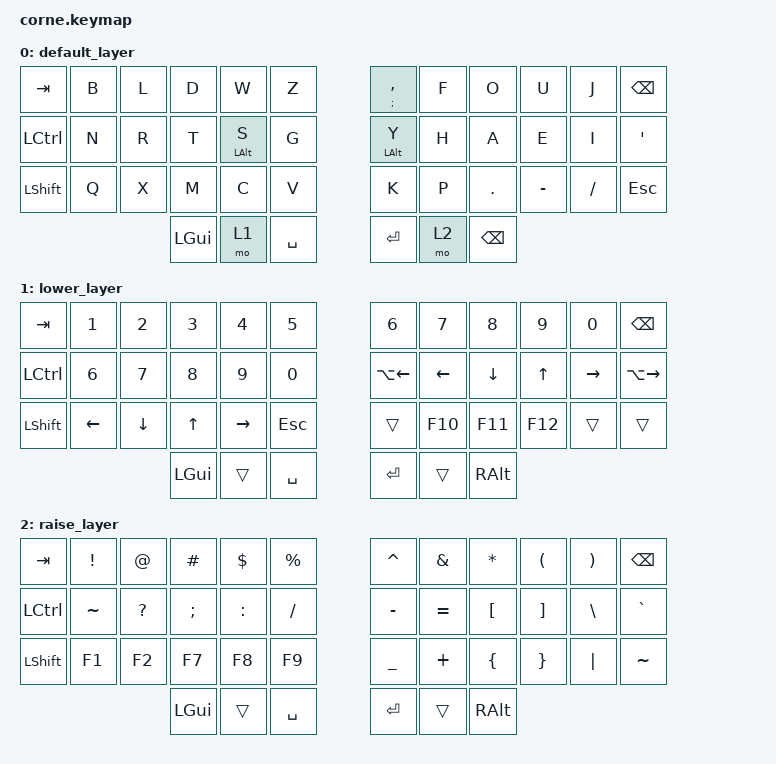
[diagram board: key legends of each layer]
/*
 * Copyright (c) 2020 The ZMK Contributors
 *
 * SPDX-License-Identifier: MIT
 */

#include <behaviors.dtsi>
#include <dt-bindings/zmk/keys.h>

&mt {
    tapping-term-ms = <175>;
    flavor = "tap-preferred";
};

/ {
    combos {
        compatible = "zmk,combos";

        ae {
            bindings = <&kp LA(APOS)>;
            key-positions = <18 21>;
        };

        leftae {
            bindings = <&kp LA(APOSTROPHE)>;
            key-positions = <16 21>;
        };

        ue_combo {
            bindings = <&ue>;
            key-positions = <9 10>;
        };

        qu_combo {
            bindings = <&qu>;
            key-positions = <25 26>;
        };

        capital_qu_combo {
            bindings = <&capitalQu>;
            key-positions = <24 25 26>;
        };

        ao {
            bindings = <&kp LA(A)>;
            key-positions = <18 20>;
        };

        oe {
            bindings = <&kp LA(O)>;
            key-positions = <18 8>;
        };

        mbcombo {
            bindings = <&mb>;
            key-positions = <1 4>;
        };

        mblcombo {
            bindings = <&mbl>;
            key-positions = <1 2 4>;
        };

        jicombo {
            bindings = <&ji>;
            key-positions = <10 11>;
        };

        Uecombo {
            bindings = <&Ue>;
            key-positions = <24 9 10>;
        };

        screenshot {
            bindings = <&kp LS(LC(LG(NUMBER_4)))>;
            key-positions = <37 24 4>;
        };
    };

    macros {
        ue: ue {
            compatible = "zmk,behavior-macro";
            #binding-cells = <0>;
            bindings = <&macro_tap>, <&kp U &kp E>;

            label = "UE";
        };

        qu: qu {
            compatible = "zmk,behavior-macro";
            #binding-cells = <0>;
            bindings = <&macro_tap>, <&kp Q &kp U>;

            label = "QU";
        };

        capitalQu: capitalQu {
            compatible = "zmk,behavior-macro";
            #binding-cells = <0>;
            bindings = <&macro_tap>, <&kp LS(Q) &kp U>;

            label = "CAPITALQU";
        };

        mb: mb {
            compatible = "zmk,behavior-macro";
            #binding-cells = <0>;
            bindings = <&macro_tap>, <&kp M &kp B>;

            label = "MB";
        };

        mbl: mbl {
            compatible = "zmk,behavior-macro";
            #binding-cells = <0>;
            bindings = <&macro_tap>, <&kp M &kp B &kp L>;

            label = "MBL";
        };

        ji: ji {
            compatible = "zmk,behavior-macro";
            #binding-cells = <0>;
            bindings = <&macro_tap>, <&kp J &kp I>;

            label = "JI";
        };

        Ue: Ue {
            compatible = "zmk,behavior-macro";
            #binding-cells = <0>;
            bindings = <&macro_tap>, <&kp LS(U) &kp E>;

            label = "UE";
        };

        screenshot: screenshot {
            compatible = "zmk,behavior-macro";
            #binding-cells = <0>;
            bindings = <&kp LS(LC(LG(NUMBER_4)))>;
            label = "SCREENSHOT";
        };
    };

    keymap {
        compatible = "zmk,keymap";

        default_layer {
            // -----------------------------------------------------------------------------------------
            // |  TAB |  Q  |  W  |  E  |  R  |  T  |   |  Y  |  U   |  I  |  O  |  P  | BSPC |
            // | CTRL |  A  |  S  |  D  |  F  |  G  |   |  H  |  J   |  K  |  L  |  ;  |  '   |
            // | SHFT |  Z  |  X  |  C  |  V  |  B  |   |  N  |  M   |  ,  |  .  |  /  | ESC  |
            //                    | GUI | LWR | SPC |   | ENT | RSE  | ALT |

            bindings = <
&kp TAB    &kp B  &kp L  &kp D     &kp W           &kp Z        &mt SEMI COMMA  &kp F  &kp O          &kp U      &kp J     &kp BSPC
&kp LCTRL  &kp N  &kp R  &kp T     &mt LEFT_ALT S  &kp G        &mt LEFT_ALT Y  &kp H  &kp A          &kp E      &kp I     &kp SQT
&kp LSHFT  &kp Q  &kp X  &kp M     &kp C           &kp V        &kp K           &kp P  &kp PERIOD     &kp MINUS  &kp FSLH  &kp ESC
                         &kp LGUI  &mo 1           &kp SPACE    &kp RET         &mo 2  &kp BACKSPACE
            >;
        };

        lower_layer {
            // -----------------------------------------------------------------------------------------
            // |  TAB |  1  |  2  |  3  |  4  |  5  |   |  6  |  7  |  8  |  9  |  0  | BSPC |
            // | BTCLR| BT1 | BT2 | BT3 | BT4 | BT5 |   | LFT | DWN |  UP | RGT |     |      |
            // | SHFT |     |     |     |     |     |   |     |     |     |     |     |      |
            //                    | GUI |     | SPC |   | ENT |     | ALT |

            bindings = <
&kp TAB           &kp N1        &kp N2    &kp N3        &kp N4     &kp N5        &kp N6        &kp N7    &kp N8    &kp N9        &kp N0     &kp BSPC
&kp LEFT_CONTROL  &kp NUMBER_6  &kp N7    &kp N8        &kp N9     &kp N0        &kp LA(LEFT)  &kp LEFT  &kp DOWN  &kp UP_ARROW  &kp RIGHT  &kp LA(RIGHT)
&kp LSHFT         &kp LEFT      &kp DOWN  &kp UP_ARROW  &kp RIGHT  &kp ESCAPE    &trans        &kp F10   &kp F11   &kp F12       &trans     &trans
                                          &kp LGUI      &trans     &kp SPACE     &kp RET       &trans    &kp RALT
            >;
        };

        raise_layer {
            // -----------------------------------------------------------------------------------------
            // |  TAB |  !  |  @  |  #  |  $  |  %  |   |  ^  |  &  |  *  |  (  |  )  | BSPC |
            // | CTRL |     |     |     |     |     |   |  -  |  =  |  [  |  ]  |  \  |  `   |
            // | SHFT |     |     |     |     |     |   |  _  |  +  |  {  |  }  | "|" |  ~   |
            //                    | GUI |     | SPC |   | ENT |     | ALT |

            bindings = <
&kp TAB    &kp EXCL   &kp AT        &kp HASH  &kp DLLR   &kp PRCNT    &kp CARET  &kp AMPS   &kp ASTRK  &kp LPAR  &kp RPAR  &kp BSPC
&kp LCTRL  &kp TILDE  &kp QUESTION  &kp SEMI  &kp COLON  &kp SLASH    &kp MINUS  &kp EQUAL  &kp LBKT   &kp RBKT  &kp BSLH  &kp GRAVE
&kp LSHFT  &kp F1     &kp F2        &kp F7    &kp F8     &kp F9       &kp UNDER  &kp PLUS   &kp LBRC   &kp RBRC  &kp PIPE  &kp TILDE
                                    &kp LGUI  &trans     &kp SPACE    &kp RET    &trans     &kp RALT
            >;
        };
    };
};
